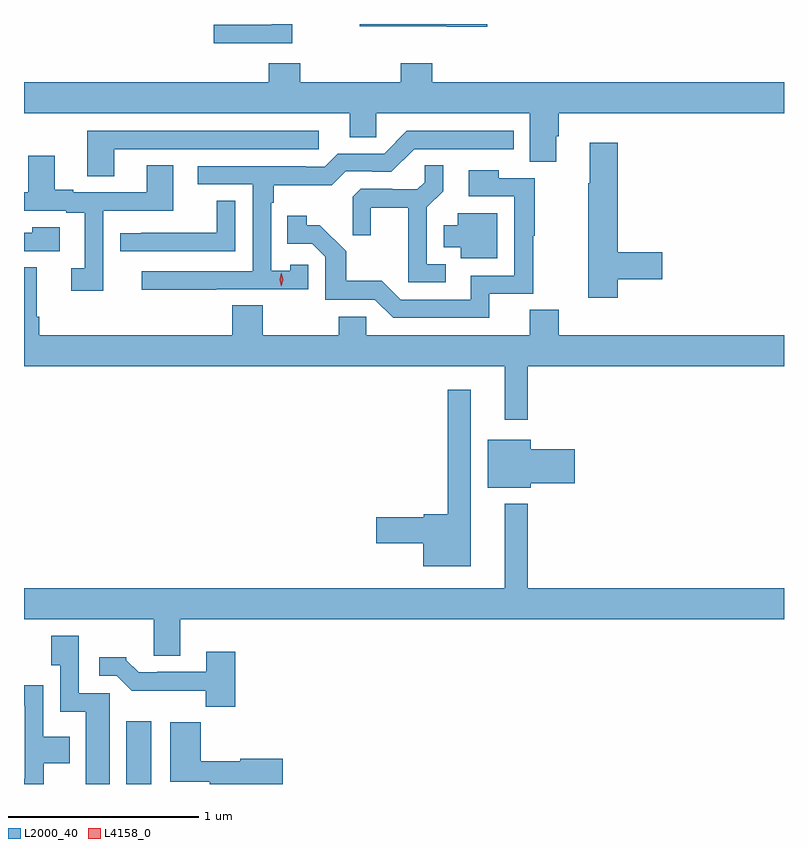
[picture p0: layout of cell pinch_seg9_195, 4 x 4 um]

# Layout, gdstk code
import gdstk
lib = gdstk.Library(unit=1e-6, precision=1e-09)
def R(c, l, rs):  # rectangles x0, y0, x1, y1
    for r in rs: c.add(gdstk.rectangle(r[:2], r[2:], *l))
def P(c, l, *ps):  # polygons
    for p in ps: c.add(gdstk.Polygon(p, *l))
L2000_40 = (2000, 40)
L4158_0 = (4158, 0)

pinch_seg9_195 = lib.new_cell('pinch_seg9_195')
R(pinch_seg9_195, L2000_40, [(529.433,1222.194,529.564,1222.525)])
P(pinch_seg9_195, L2000_40, [(530.308,1226.194),(530.198,1226.194),(530.198,1226.19),(529.893,1226.19),(529.893,1226.094),(530.308,1226.094)],
  [(531.334,1226.194),(530.661,1226.194),(530.661,1226.183),(531.121,1226.183),(531.121,1226.179),(531.334,1226.179)],
  [(531.697,1225.602),(531.71,1225.602),(531.71,1225.724),(532.895,1225.724),(532.895,1225.888),(531.044,1225.888),(531.044,1225.987),(530.879,1225.987),(530.879,1225.888),(530.348,1225.888),(530.348,1225.987),(530.183,1225.987),(530.183,1225.888),(528.895,1225.888),(528.895,1225.724),(530.609,1225.724),(530.609,1225.597),(530.748,1225.597),(530.748,1225.724),(531.557,1225.724),(531.557,1225.468),(531.697,1225.468)],
  [(529.369,1225.536),(530.446,1225.536),(530.446,1225.632),(529.229,1225.632),(529.229,1225.393),(529.369,1225.393)],
  [(529.907,1224.798),(530.391,1224.798),(530.391,1224.927),(530.295,1224.927),(530.295,1224.895),(530.196,1224.895),(530.196,1225.253),(530.209,1225.253),(530.209,1225.346),(530.516,1225.346),(530.589,1225.419),(530.728,1225.419),(530.728,1225.416),(530.829,1225.416),(530.949,1225.536),(531.472,1225.536),(531.472,1225.632),(530.91,1225.632),(530.79,1225.512),(530.547,1225.512),(530.478,1225.443),(530.378,1225.443),(530.378,1225.446),(529.809,1225.446),(529.809,1225.35),(530.1,1225.35),(530.1,1224.894),(529.515,1224.894),(529.515,1224.796),(529.907,1224.796)],
  [(532.019,1224.85),(532.255,1224.85),(532.255,1224.992),(532.019,1224.992),(532.019,1225.57),(531.872,1225.57),(531.872,1225.357),(531.865,1225.357),(531.865,1224.752),(532.019,1224.752)],
  [(529.311,1225.212),(529.681,1225.212),(529.681,1225.451),(529.541,1225.451),(529.541,1225.308),(529.153,1225.308),(529.153,1225.321),(529.057,1225.321),(529.057,1225.501),(528.917,1225.501),(528.917,1225.308),(528.895,1225.308),(528.895,1225.212),(529.118,1225.212),(529.118,1225.2),(529.214,1225.2),(529.214,1224.909),(529.143,1224.909),(529.143,1224.789),(529.311,1224.789)],
  [(531.115,1224.93),(531.015,1224.93),(531.015,1225.229),(531.101,1225.315),(531.101,1225.451),(531.003,1225.451),(531.003,1225.36),(530.966,1225.323),(530.832,1225.323),(530.832,1225.326),(530.667,1225.326),(530.626,1225.285),(530.626,1225.083),(530.72,1225.083),(530.72,1225.226),(530.918,1225.226),(530.918,1224.834),(531.115,1224.834)],
  [(531.344,1224.774),(531.575,1224.774),(531.575,1225.079),(531.583,1225.079),(531.583,1225.383),(531.393,1225.383),(531.393,1225.423),(531.237,1225.423),(531.237,1225.287),(531.474,1225.287),(531.474,1224.87),(531.245,1224.87),(531.245,1224.744),(530.877,1224.744),(530.779,1224.843),(530.59,1224.843),(530.59,1224.998),(530.452,1225.136),(530.382,1225.136),(530.382,1225.186),(530.281,1225.186),(530.281,1225.038),(530.412,1225.038),(530.481,1224.969),(530.481,1224.744),(530.742,1224.744),(530.838,1224.648),(531.344,1224.648)],
  [(530.007,1225.265),(529.909,1225.265),(529.909,1225.095),(529.513,1225.095),(529.513,1225.094),(529.401,1225.094),(529.401,1224.999),(530.007,1224.999)],
  [(531.385,1225.198),(531.179,1225.198),(531.179,1225.135),(531.104,1225.135),(531.104,1225.019),(531.194,1225.019),(531.194,1224.962),(531.385,1224.962)],
  [(529.084,1225.123),(528.939,1225.123),(528.939,1225.095),(528.895,1225.095),(528.895,1224.999),(529.084,1224.999)],
  [(531.547,1224.392),(532.895,1224.392),(532.895,1224.556),(531.71,1224.556),(531.71,1224.689),(531.557,1224.689),(531.557,1224.556),(530.697,1224.556),(530.697,1224.654),(530.551,1224.654),(530.551,1224.556),(530.151,1224.556),(530.151,1224.713),(529.991,1224.713),(529.991,1224.556),(528.974,1224.556),(528.974,1224.652),(528.961,1224.652),(528.961,1224.913),(528.895,1224.913),(528.895,1224.392),(531.425,1224.392),(531.425,1224.111),(531.547,1224.111)],
  [(531.247,1224.268),(531.126,1224.268),(531.126,1223.615),(531,1223.615),(531,1223.597),(530.748,1223.597),(530.748,1223.462),(530.996,1223.462),(530.996,1223.339),(531.247,1223.339)],
  [(531.562,1223.777),(531.793,1223.777),(531.793,1223.955),(531.562,1223.955),(531.562,1224.007),(531.335,1224.007),(531.335,1223.753),(531.562,1223.753)],
  [(529.717,1223.06),(532.895,1223.06),(532.895,1223.224),(531.547,1223.224),(531.547,1223.668),(531.425,1223.668),(531.425,1223.224),(528.895,1223.224),(528.895,1223.06),(529.577,1223.06),(529.577,1222.87),(529.717,1222.87)],
  [(529.345,1222.671),(529.182,1222.671),(529.182,1222.975),(529.039,1222.975),(529.039,1222.819),(529.086,1222.819),(529.086,1222.574),(529.22,1222.574),(529.22,1222.194),(529.345,1222.194)],
  [(530.006,1222.891),(529.853,1222.891),(529.853,1222.785),(529.597,1222.785),(529.597,1222.782),(529.498,1222.782),(529.434,1222.846),(529.434,1222.861),(529.29,1222.861),(529.29,1222.764),(529.383,1222.764),(529.462,1222.686),(529.851,1222.686),(529.851,1222.601),(530.006,1222.601)],
  [(528.999,1222.304),(529.135,1222.304),(529.135,1222.444),(528.996,1222.444),(528.996,1222.714),(528.895,1222.714),(528.895,1222.605),(528.9,1222.605),(528.9,1222.222),(528.895,1222.222),(528.895,1222.194),(528.999,1222.194)],
  [(530.257,1222.328),(530.034,1222.328),(530.034,1222.315),(529.826,1222.315),(529.826,1222.519),(529.664,1222.519),(529.664,1222.205),(529.872,1222.205),(529.872,1222.194),(530.257,1222.194)])
P(pinch_seg9_195, L4158_0, [(530.249,1224.813),(530.249,1224.813),(530.24,1224.849),(530.25,1224.885),(530.25,1224.885),(530.25,1224.885),(530.259,1224.849),(530.249,1224.813)])

lib.write_gds('pinch_seg9_195.gds')
